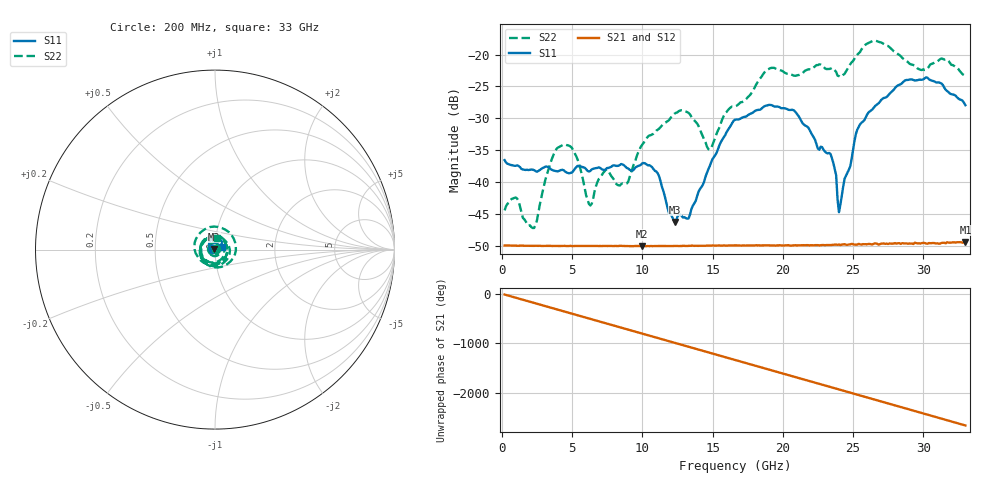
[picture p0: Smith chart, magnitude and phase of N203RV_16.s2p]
# GHZ S RI R 50
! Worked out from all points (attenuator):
!   329 points, 200 MHz to 33 GHz, reference 50 ohm
!   highest |S21| = -49.44 dB at 33 GHz (marker M1); lowest = -50.1 dB at 10 GHz (marker M2)
!   lowest |S11| = -46.3 dB at 12.3 GHz (marker M3), VSWR 1.01, Z = 49.6 + j0.277 ohm
!   |S11| at or under -10 dB: start of sweep to end of sweep
!   |S22| runs from -47.2 to -17.8 dB; largest |S21 - S12| = 7.2e-05
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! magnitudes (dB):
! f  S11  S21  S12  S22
! 200 MHz  -36.6  -50.0  -49.9  -44.5
! 1 GHz  -37.5  -50.0  -50.0  -42.4
! 2.3 GHz  -38.2  -50.0  -50.0  -47.2
! 3.5 GHz  -38.0  -50.0  -50.0  -36.8
! 4.4 GHz  -38.1  -50.0  -50.0  -34.1
! 5.7 GHz  -37.6  -50.0  -50.0  -38.9
! 6.3 GHz  -38.3  -50.0  -50.0  -43.7
! 7.4 GHz  -38.0  -50.0  -50.0  -38.1
! 8.9 GHz  -37.8  -50.1  -50.0  -40.2
! 10 GHz  -37.1  -50.1  -50.1  -34.2
! 11.2 GHz  -39.1  -50.1  -50.0  -31.6
! 12.3 GHz  -46.3  -50.0  -50.0  -29.3
! 14.8 GHz  -37.5  -50.0  -50.0  -34.9
! 16.6 GHz  -30.2  -50.0  -49.9  -28.1
! 19.1 GHz  -27.9  -50.0  -50.0  -22.2
! 22.1 GHz  -32.6  -49.9  -49.9  -22.2
! 23.4 GHz  -35.6  -49.9  -49.9  -22.2
! 24 GHz  -44.7  -49.8  -49.8  -23.4
! 25.3 GHz  -31.8  -49.8  -49.8  -20.0
! 27.6 GHz  -26.2  -49.6  -49.7  -18.8
! 30.2 GHz  -23.6  -49.7  -49.6  -22.4
! 33 GHz  -28.0  -49.4  -49.4  -23.4
